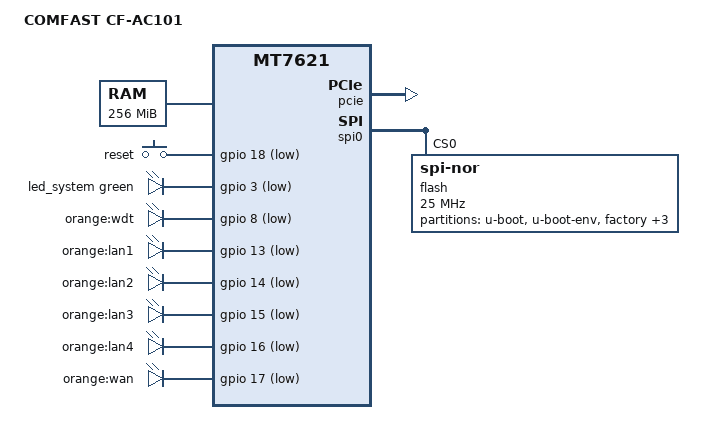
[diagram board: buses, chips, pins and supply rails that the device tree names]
// SPDX-License-Identifier: GPL-2.0-or-later OR MIT

#include "mt7621.dtsi"

#include <dt-bindings/gpio/gpio.h>
#include <dt-bindings/input/input.h>
#include <dt-bindings/leds/common.h>

/ {
	compatible = "comfast,cf-ac101", "mediatek,mt7621-soc";
	model = "COMFAST CF-AC101";

	memory@0 {
		device_type = "memory";
		reg = <0x0 0x10000000>;  // 256 MB
	};

	chosen {
		bootargs = "console=ttyS0,115200 maxcpus=2";
	};

	keys {
		compatible = "gpio-keys";

		reset {
			label = "reset";
			gpios = <&gpio 18 GPIO_ACTIVE_LOW>;
			linux,code = <KEY_RESTART>;
		};
	};

	leds {
		compatible = "gpio-leds";

		led_system: system {
			function = LED_FUNCTION_STATUS;
			color = <LED_COLOR_ID_GREEN>;
			gpios = <&gpio 3 GPIO_ACTIVE_LOW>;
		};

		wdt {
			label = "orange:wdt";
			gpios = <&gpio 8 GPIO_ACTIVE_LOW>;
		};

		port0 {
			label = "orange:lan1";
			gpios = <&gpio 13 GPIO_ACTIVE_LOW>;
		};

		port1 {
			label = "orange:lan2";
			gpios = <&gpio 14 GPIO_ACTIVE_LOW>;
		};

		port2 {
			label = "orange:lan3";
			gpios = <&gpio 15 GPIO_ACTIVE_LOW>;
		};

		port3 {
			label = "orange:lan4";
			gpios = <&gpio 16 GPIO_ACTIVE_LOW>;
		};

		port4 {
			label = "orange:wan";
			gpios = <&gpio 17 GPIO_ACTIVE_LOW>;
		};
	};

	aliases {
		led-boot = &led_system;
		led-failsafe = &led_system;
		led-running = &led_system;
		led-upgrade = &led_system;
	};
};

&pcie {
	status = "okay";
};

&spi0 {
	status = "okay";

	flash@0 {
		compatible = "jedec,spi-nor";
		reg = <0>;
		spi-max-frequency = <25000000>;
		m25p,fast-read;

		partitions {
			compatible = "fixed-partitions";
			#address-cells = <1>;
			#size-cells = <1>;

			partition@0 {
				label = "u-boot";
				reg = <0x0 0x30000>;
				read-only;
			};

			partition@30000 {
				label = "u-boot-env";
				reg = <0x30000 0x10000>;
				read-only;
			};

			partition@40000 {
				label = "factory";
				reg = <0x40000 0x10000>;
				read-only;

				nvmem-layout {
					compatible = "fixed-layout";
					#address-cells = <1>;
					#size-cells = <1>;

					eeprom_factory_0: eeprom@0 {
						reg = <0x0 0xe00>;
					};

					eeprom_factory_8000: eeprom@8000 {
						reg = <0x8000 0xe00>;
					};

					macaddr_factory_4: macaddr@4 {
						compatible = "mac-base";
						reg = <0x4 0x6>;
						#nvmem-cell-cells = <1>;
					};
				};
			};

			partition@50000 {
				compatible = "denx,uimage";
				label = "firmware";
				reg = <0x50000 0xf70000>;
			};

			partition@fc0000 {
				label = "configs";
				reg = <0xfc0000 0x40000>;
				read-only;
			};

			partition@1000000 {
				label = "reserve";
				reg = <0x1000000 0x1000000>;
				read-only;
			};
		};
	};
};

&ethernet {
        pinctrl-0 = <&mdio_pins>, <&rgmii2_pins>;
};

&gmac0 {
	nvmem-cells = <&macaddr_factory_4 0>;
	nvmem-cell-names = "mac-address";
};

&gmac1 {
	status = "disabled";
};

&switch0 {
	ports {
		port@0 {
			status = "okay";
			label = "lan1";
		};

		port@1 {
			status = "okay";
			label = "lan2";
		};

		port@2 {
			status = "okay";
			label = "lan3";
		};

		port@3 {
			status = "okay";
			label = "lan4";
		};

		port@4 {
			status = "okay";
			label = "wan";
			nvmem-cells = <&macaddr_factory_4 1>;
			nvmem-cell-names = "mac-address";
		};
	};
};

&state_default {
	gpio {
		groups = "i2c", "wdt", "uart3", "jtag";
		function = "gpio";
	};
};
